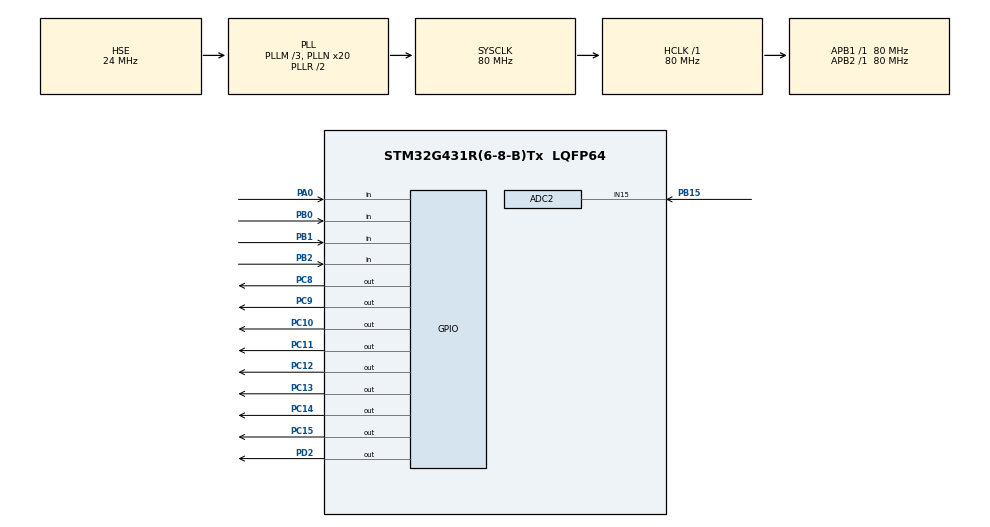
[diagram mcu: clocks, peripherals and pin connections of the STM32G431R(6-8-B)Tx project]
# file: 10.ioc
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ADC2.Channel-0\#ChannelRegularConversion=ADC_CHANNEL_15
ADC2.NbrOfConversionFlag=1
ADC2.OffsetNumber-0\#ChannelRegularConversion=ADC_OFFSET_NONE
ADC2.Rank-0\#ChannelRegularConversion=1
ADC2.SamplingTime-0\#ChannelRegularConversion=ADC_SAMPLETIME_2CYCLES_5
Mcu.Family=STM32G4
Mcu.Name=STM32G431R(6-8-B)Tx
Mcu.Package=LQFP64
NVIC.PriorityGroup=NVIC_PRIORITYGROUP_4
PA0.Signal=GPIO_Input
PA13.Mode=Serial_Wire
PA13.Signal=SYS_JTMS-SWDIO
PA14.Mode=Serial_Wire
PA14.Signal=SYS_JTCK-SWCLK
PB0.Signal=GPIO_Input
PB1.Signal=GPIO_Input
PB15.Mode=IN15-Single-Ended
PB15.Signal=ADC2_IN15
PB2.Signal=GPIO_Input
PC10.Signal=GPIO_Output
PC11.Signal=GPIO_Output
PC12.Signal=GPIO_Output
PC13.Signal=GPIO_Output
PC14-OSC32_IN.Signal=GPIO_Output
PC15-OSC32_OUT.Signal=GPIO_Output
PC8.Signal=GPIO_Output
PC9.Signal=GPIO_Output
PD2.Signal=GPIO_Output
PF0-OSC_IN.Mode=HSE-External-Oscillator
PF0-OSC_IN.Signal=RCC_OSC_IN
PF1-OSC_OUT.Mode=HSE-External-Oscillator
PF1-OSC_OUT.Signal=RCC_OSC_OUT
ProjectManager.HeapSize=0x200
ProjectManager.StackSize=0x400
ProjectManager.TargetToolchain=MDK-ARM V5.27
RCC.ADC12Freq_Value=80000000
RCC.AHBFreq_Value=80000000
RCC.APB1Freq_Value=80000000
RCC.APB1TimFreq_Value=80000000
RCC.APB2Freq_Value=80000000
RCC.APB2TimFreq_Value=80000000
RCC.CortexFreq_Value=80000000
RCC.EXTERNAL_CLOCK_VALUE=12288000
RCC.HCLKFreq_Value=80000000
RCC.HSE_VALUE=24000000
RCC.HSI48_VALUE=48000000
RCC.HSI_VALUE=16000000
RCC.LSE_VALUE=32768
RCC.PLLM=RCC_PLLM_DIV3
RCC.PLLN=20
RCC.PLLSourceVirtual=RCC_PLLSOURCE_HSE
RCC.SYSCLKFreq_VALUE=80000000
RCC.SYSCLKSource=RCC_SYSCLKSOURCE_PLLCLK
RCC.USBFreq_Value=80000000
RCC.VCOOutputFreq_Value=160000000
VP_SYS_VS_DBSignals.Mode=DisableDeadBatterySignals
board=custom

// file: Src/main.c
/* USER CODE BEGIN Header */
/**
  ******************************************************************************
  * @file           : main.c
  * @brief          : Main program body
  ******************************************************************************
  * @attention
  *
  * <h2><center>&copy; Copyright (c) 2023 STMicroelectronics.
  * All rights reserved.</center></h2>
  *
  * This software component is licensed by ST under BSD 3-Clause license,
  * the "License"; You may not use this file except in compliance with the
  * License. You may obtain a copy of the License at:
  *                        opensource.org/licenses/BSD-3-Clause
  *
  ******************************************************************************
  */
/* USER CODE END Header */

#include "main.h"
#include "adc.h"
#include "gpio.h"

/* USER CODE BEGIN Includes */
#include "lcd_hal.h"
#include <stdio.h>
/* USER CODE END Includes */

//按键的宏定义
#define B1 HAL_GPIO_ReadPin(GPIOB, GPIO_PIN_0)
#define B2 HAL_GPIO_ReadPin(GPIOB, GPIO_PIN_1)
#define B3 HAL_GPIO_ReadPin(GPIOB, GPIO_PIN_2)
#define B4 HAL_GPIO_ReadPin(GPIOA, GPIO_PIN_0)

/* USER CODE BEGIN PV */
//定义按键状态枚举
enum AllKeyState{
	Key_Check,
	Key_Press,
	Key_Release
};
enum AllKeyState Key_State = Key_Check;//定义一个按键变量
uint8_t Key_Flag=0;//按键标志位
uint8_t Key_Down_Time = 20;//按键持续时间
uint8_t Key_Value = 0;//按键键值

//定义电压上限值和电压下限值
double Max_Vlot=2.4;
double Min_Vlot=1.2;

//高亮显示行数
uint8_t H_Light_Line = 0;

//显示界面选择
uint8_t Interface_Mode = 0;//0代表数据界面 1代表参数设置界面

//读取到的ADC电压
float Adc_Value;

//当前电压状态
uint8_t Vlot_State = 0;//0代表超过上限 1 代表低于下限 2代表正常
//定义显示状态常量字符串
char Status_Strings[3][7]={
	"Upper",
	"Lower",
	"Normal"
};

//上限提醒指示灯和下限提醒指示灯位置
signed int Upper_Led = 1;
signed int Lower_Led = 2;

/* USER CODE END PV */

void SystemClock_Config(void);
/* USER CODE BEGIN PFP */
void CloseLed(void);
void Lcd_Hal_init(void);
void InerfaceDataDis(float Volt);
void InerfaceParaDis(uint8_t hightlight);
uint32_t AdcGet(void);
/* USER CODE END PFP */

int main(void)
{

  /* MCU Configuration--------------------------------------------------------*/

  /* Reset of all peripherals, Initializes the Flash interface and the Systick. */
  HAL_Init();

  /* Configure the system clock */
  SystemClock_Config();

  /* Initialize all configured peripherals */
  MX_GPIO_Init();
  MX_ADC2_Init();
  /* USER CODE BEGIN 2 */
	CloseLed();//LED关闭
	Lcd_Hal_init();//LCD初始化
  /* USER CODE END 2 */

  /* Infinite loop */
  /* USER CODE BEGIN WHILE */
  while (1)
  {
	  //读取ADC电压
	  Adc_Value = AdcGet() * 3.3 / 4096;
	  //判断电压状态
	if(Adc_Value > Max_Vlot) Vlot_State = 0;
	else if(Adc_Value < Min_Vlot) Vlot_State = 1;
	else Vlot_State = 2;
	  //执行界面切换
	  if(Interface_Mode ==0 ) InerfaceDataDis(Adc_Value);
	  else if(Interface_Mode ==1 ) InerfaceParaDis(H_Light_Line);

	  //按键判断
	  if(Key_Flag ==1)
	  {
		Key_Flag=0;
		  //按键界面切换
		if(Key_Value == 1) {
			Interface_Mode ++;
			Interface_Mode %= 2;
		}
		//高亮选择切换
		if(Key_Value == 2 && Interface_Mode == 1 ) {
			H_Light_Line ++;
			H_Light_Line %= 4;
		}
		if(Key_Value == 3 && Interface_Mode == 1 ) {
			//电压+0.3
			switch(H_Light_Line)
			{
				case 0:if(Max_Vlot < 3.2) Max_Vlot += 0.3;break;
				case 1:if(Min_Vlot < 3.2) Min_Vlot += 0.3;break;
				case 2:
					if(Upper_Led < 8) Upper_Led++;
					if(Upper_Led == Lower_Led) Upper_Led ++;
					if(Upper_Led == 9) Upper_Led-=2;
					break;
				case 3:
					if(Lower_Led < 8) Lower_Led++;
					if(Upper_Led == Lower_Led) Lower_Led ++;
					if(Lower_Led == 9) Lower_Led-=2;
					break;
				default:break;
			}
		}
		if(Key_Value == 4 && Interface_Mode == 1 ) {
			switch(H_Light_Line)
			{
				case 0:
					if(Max_Vlot > 0.3) Max_Vlot = Max_Vlot - 0.3;
					else Max_Vlot = 0.0;
				break;
				case 1:
					if(Min_Vlot > 0.3) Min_Vlot = Min_Vlot - 0.3;
					else Min_Vlot = 0.0;
				break;
				case 2:
					if(Upper_Led > 1) Upper_Led--;
					if(Upper_Led == Lower_Led) Upper_Led --;
					if(Upper_Led == 0) Upper_Led+=2;
					break;
				case 3:
					if(Lower_Led > 1) Lower_Led--;
					if(Upper_Led == Lower_Led) Lower_Led --;
					if(Lower_Led == 0) Lower_Led+=2;
					break;
				default:break;
			}
		}
	  }
    /* USER CODE END WHILE */

  }
}

void SystemClock_Config(void)
{
  RCC_OscInitTypeDef RCC_OscInitStruct = {0};
  RCC_ClkInitTypeDef RCC_ClkInitStruct = {0};
  RCC_PeriphCLKInitTypeDef PeriphClkInit = {0};

  /** Configure the main internal regulator output voltage
  */
  HAL_PWREx_ControlVoltageScaling(PWR_REGULATOR_VOLTAGE_SCALE1);
  /** Initializes the CPU, AHB and APB busses clocks
  */
  RCC_OscInitStruct.OscillatorType = RCC_OSCILLATORTYPE_HSE;
  RCC_OscInitStruct.HSEState = RCC_HSE_ON;
  RCC_OscInitStruct.PLL.PLLState = RCC_PLL_ON;
  RCC_OscInitStruct.PLL.PLLSource = RCC_PLLSOURCE_HSE;
  RCC_OscInitStruct.PLL.PLLM = RCC_PLLM_DIV3;
  RCC_OscInitStruct.PLL.PLLN = 20;
  RCC_OscInitStruct.PLL.PLLP = RCC_PLLP_DIV2;
  RCC_OscInitStruct.PLL.PLLQ = RCC_PLLQ_DIV2;
  RCC_OscInitStruct.PLL.PLLR = RCC_PLLR_DIV2;
  if (HAL_RCC_OscConfig(&RCC_OscInitStruct) != HAL_OK)
  {
    Error_Handler();
  }
  /** Initializes the CPU, AHB and APB busses clocks
  */
  RCC_ClkInitStruct.ClockType = RCC_CLOCKTYPE_HCLK|RCC_CLOCKTYPE_SYSCLK
                              |RCC_CLOCKTYPE_PCLK1|RCC_CLOCKTYPE_PCLK2;
  RCC_ClkInitStruct.SYSCLKSource = RCC_SYSCLKSOURCE_PLLCLK;
  RCC_ClkInitStruct.AHBCLKDivider = RCC_SYSCLK_DIV1;
  RCC_ClkInitStruct.APB1CLKDivider = RCC_HCLK_DIV1;
  RCC_ClkInitStruct.APB2CLKDivider = RCC_HCLK_DIV1;

  if (HAL_RCC_ClockConfig(&RCC_ClkInitStruct, FLASH_LATENCY_3) != HAL_OK)
  {
    Error_Handler();
  }
  /** Initializes the peripherals clocks
  */
  PeriphClkInit.PeriphClockSelection = RCC_PERIPHCLK_ADC12;
  PeriphClkInit.Adc12ClockSelection = RCC_ADC12CLKSOURCE_SYSCLK;
  if (HAL_RCCEx_PeriphCLKConfig(&PeriphClkInit) != HAL_OK)
  {
    Error_Handler();
  }
}

/* USER CODE BEGIN 4 */
void CloseLed(void)
{
	//开启LED控制
	HAL_GPIO_WritePin(GPIOD, GPIO_PIN_2, GPIO_PIN_SET);
	//关闭所有LED
	HAL_GPIO_WritePin(GPIOC, GPIO_PIN_8 |  GPIO_PIN_9 |  GPIO_PIN_10 |  GPIO_PIN_11 |  GPIO_PIN_12 |  GPIO_PIN_13 |  GPIO_PIN_14 |  GPIO_PIN_15, GPIO_PIN_SET);
	//关闭LED控制
	HAL_GPIO_WritePin(GPIOD, GPIO_PIN_2, GPIO_PIN_RESET);
}

void Lcd_Hal_init(void)
{
	LCD_Init();
	LCD_SetTextColor(White);
	LCD_SetBackColor(Black);
	LCD_Clear(White);
	LCD_DisplayStringLine(Line0, "                    ");
	LCD_DisplayStringLine(Line1, "                    ");
	LCD_DisplayStringLine(Line2, "                    ");
	LCD_DisplayStringLine(Line3, "                    ");
	LCD_DisplayStringLine(Line4, "                    ");
	LCD_DisplayStringLine(Line5, "                    ");
	LCD_DisplayStringLine(Line6, "                    ");
	LCD_DisplayStringLine(Line7, "                    ");
	LCD_DisplayStringLine(Line8, "                    ");
	LCD_DisplayStringLine(Line9, "                    ");
}

void InerfaceDataDis(float Volt)
{
	char String_Line2[20];
	char String_Line3[20];

	LCD_DisplayStringLine(Line0, "        Main        ");

	//显示电压的数值
	sprintf(String_Line2,"    Volt:%.2fV      ",Volt);
	LCD_DisplayStringLine(Line1, (uint8_t*)String_Line2);

	//根据电压不同显示不同的状态
	sprintf(String_Line3,"    Status:%s    ",Status_Strings[Vlot_State]);

	//填补空缺
	LCD_DisplayStringLine(Line2, (uint8_t*)String_Line3);
	LCD_DisplayStringLine(Line3, "                    ");
	LCD_DisplayStringLine(Line4, "                    ");
}

void InerfaceParaDis(uint8_t hightlight)
{
	char String_Line1[20];
	char String_Line2[20];
	char String_Line3[20];
	char String_Line4[20];
	LCD_DisplayStringLine(Line0, "      Setting       ");
	//显示电压上限值
	sprintf(String_Line1,"   Max Volt:%.1fV    ",Max_Vlot);
	if(hightlight == 0) LCD_SetBackColor(Blue);//高亮选择
	LCD_DisplayStringLine(Line1, (uint8_t*)String_Line1);
	LCD_SetBackColor(Black);
	//显示电压下限值
	sprintf(String_Line2,"   Min Volt:%.1fV    ",Min_Vlot);
	if(hightlight == 1) LCD_SetBackColor(Blue);//高亮选择
	LCD_DisplayStringLine(Line2, (uint8_t*)String_Line2);
	LCD_SetBackColor(Black);
	//显示上限提醒指示灯
	sprintf(String_Line3,"   Upper:LD%d        ",Upper_Led);
	if(hightlight == 2) LCD_SetBackColor(Blue);//高亮选择
	LCD_DisplayStringLine(Line3, (uint8_t*)String_Line3);
	LCD_SetBackColor(Black);
	//显示上限提醒指示灯
	sprintf(String_Line4,"   Lower:LD%d        ",Lower_Led);
	if(hightlight == 3) LCD_SetBackColor(Blue);//高亮选择
	LCD_DisplayStringLine(Line4, (uint8_t*)String_Line4);
	LCD_SetBackColor(Black);
}

//获取模拟电压的值
//输出为0-4096
uint32_t AdcGet(void)
{
	uint32_t adcvalue;
	HAL_ADC_Start(&hadc2);//启动ADC
	HAL_ADC_PollForConversion(&hadc2, 2);//启动ADC转换
	adcvalue = HAL_ADC_GetValue(&hadc2);//获取ADC转换之后的值
	HAL_ADC_Stop(&hadc2);//关闭ADC
	return adcvalue;
}

void KeyScan(void)
{
	switch(Key_State)
	{
		case Key_Check:
			//按键按下检测
			if(B1 == RESET | B2 == RESET | B3 == RESET | B4 == RESET )
				//进入按键按下判断
				Key_State = Key_Press;
			break;
		case Key_Press:
			Key_State = Key_Release;
			//错误检测判断
			if(B1 == RESET) Key_Value = 1;
			else if(B2 == RESET) Key_Value = 2;
			else if(B3 == RESET) Key_Value = 3;
			else if(B4 == RESET) Key_Value = 4;
			else Key_State = Key_Check;
			break;
		case Key_Release:
			if(B1 == RESET | B2 == RESET | B3 == RESET | B4 == RESET )
			{
				//持续按键判断
				Key_Down_Time +=10;
			}
			else{
				Key_Flag = 1;//按键松开
				Key_State = Key_Check;//状态复位
			}
			break;
		default:
			break;
	}
}
/* USER CODE END 4 */

void Error_Handler(void)
{
}

/************************ (C) COPYRIGHT STMicroelectronics *****END OF FILE****/
